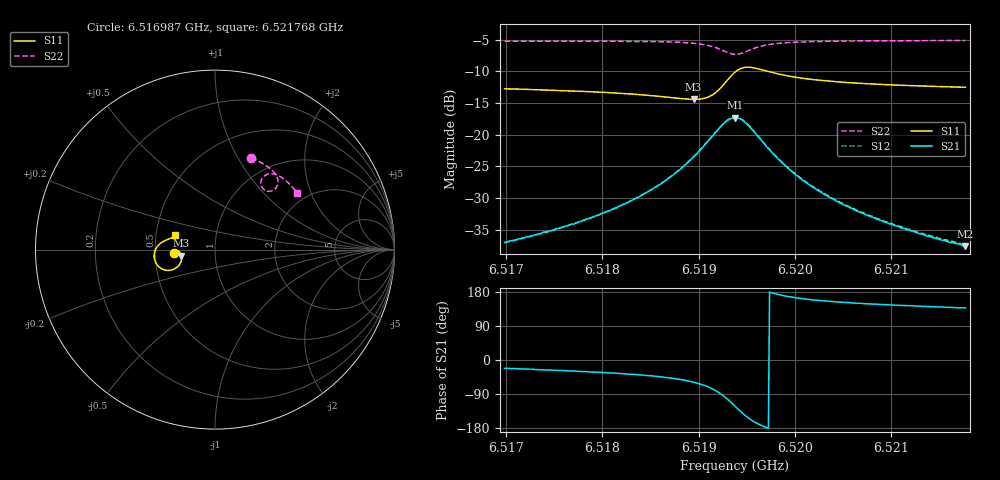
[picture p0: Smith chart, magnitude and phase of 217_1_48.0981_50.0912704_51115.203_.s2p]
#  HZ  S  RI  R  50.00
! Rohde & Schwarz Vector Network Analyzer
! Rohde-Schwarz,ZNB20-2Port,1311601062101988,3.16
! Created: UTC 12/23/2023, 3:56:22 AM
! freq[Hz]  re:S11  im:S11  re:S21  im:S21  re:S12  im:S12  re:S22  im:S22
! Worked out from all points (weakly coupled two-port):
!   401 points, 6.516987 GHz to 6.521768 GHz, reference 50 ohm
!   highest |S21| = -17.29 dB at 6.519378 GHz (marker M1); lowest = -37.6 dB at 6.521768 GHz (marker M2)
!   lowest |S11| = -14.4 dB at 6.518947 GHz (marker M3), VSWR 1.47, Z = 34.1 - j2.38 ohm
!   |S11| at or under -10 dB: start of sweep to 6.519386 GHz; 6.519722 GHz to end of sweep
!   |S22| runs from -7.3 to -5.1 dB; largest |S21 - S12| = 0.0043
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6.5169874e9  -0.2303 -0.0172  0.013 -0.00534  0.0132 -0.00477  0.2021 0.5097
6.5174774e9  -0.2248 -0.0102  0.0156 -0.00795  0.0159 -0.00734  0.2384 0.4942
6.5177881e9  -0.2203 -0.00679  0.018 -0.0105  0.0183 -0.00983  0.2615 0.4823
6.5182542e9  -0.2109 -0.0047  0.0232 -0.0174  0.0238 -0.0165  0.2964 0.4604
6.5185888e9  -0.2009 -0.00918  0.0289 -0.0278  0.0298 -0.0269  0.3224 0.4382
6.5188039e9  -0.1926 -0.0194  0.0331 -0.0412  0.0345 -0.0404  0.3389 0.4175
6.5189473e9  -0.1874 -0.0337  0.0349 -0.0568  0.0368 -0.0561  0.3483 0.3977
6.5190549e9  -0.1867 -0.0521  0.0324 -0.0747  0.0349 -0.0742  0.3514 0.3773
6.5191505e9  -0.1939 -0.076  0.022 -0.0965  0.0252 -0.0966  0.3466 0.3543
6.519282e9  -0.236 -0.1118  -0.0209 -0.125  -0.0174 -0.1265  0.3141 0.326
6.5193298e9  -0.2636 -0.1157  -0.0464 -0.1255  -0.0429 -0.1279  0.2943 0.3251
6.5193776e9  -0.2932 -0.1083  -0.0721 -0.116  -0.0692 -0.119  0.2748 0.333
6.5194373e9  -0.3229 -0.0843  -0.096 -0.0917  -0.094 -0.0953  0.2586 0.3534
6.5194971e9  -0.3375 -0.0526  -0.1054 -0.0627  -0.1043 -0.0662  0.2556 0.3774
6.5195927e9  -0.3352 -0.00887  -0.0985 -0.0256  -0.0987 -0.0286  0.2695 0.4055
6.5197002e9  -0.3189 0.0205  -0.0814 -0.00309  -0.082 -0.00566  0.2924 0.4194
6.5199273e9  -0.2883 0.0453  -0.0531 0.0116  -0.054 0.0103  0.3313 0.4199
6.5201783e9  -0.268 0.0546  -0.0362 0.0139  -0.0371 0.0131  0.36 0.4085
6.5205248e9  -0.2517 0.0612  -0.0242 0.013  -0.025 0.0124  0.3888 0.389
6.520979e9  -0.2387 0.068  -0.0163 0.0113  -0.0169 0.0111  0.4183 0.3623
6.5214092e9  -0.2299 0.074  -0.0121 0.00987  -0.0126 0.00974  0.4418 0.336
6.5217677e9  -0.2238 0.0788  -0.00973 0.00887  -0.0101 0.00882  0.4592 0.3137
